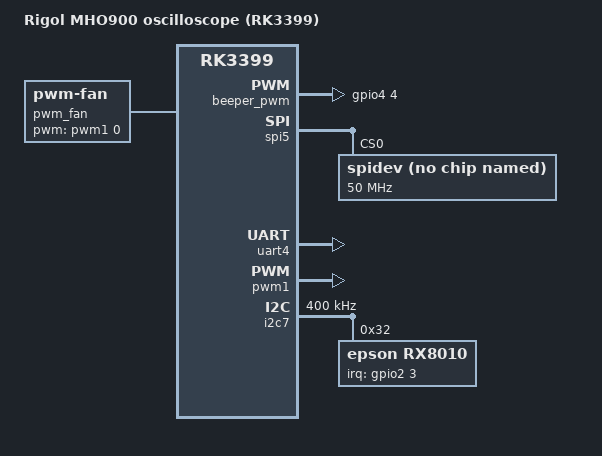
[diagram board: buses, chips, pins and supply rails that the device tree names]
// SPDX-License-Identifier: (GPL-2.0+ OR MIT)
/*
 * Rigol MHO900 oscilloscope board (Rockchip RK3399, board code 3): the DHO800 / DHO900 board with
 * the differences below. Several of the DHO's lines are other signals on this board, so the DHO
 * file's consumers of them are changed or deleted here.
 *
 * Copyright (C) 2026 Olympian LED, Inc.
 */

#include "rk3399-rigol-dho900.dts"

/ {
	model = "Rigol MHO900 oscilloscope (RK3399)";
	compatible = "rigol,mho900", "rockchip,rk3399";

	aliases {
		spi5 = &spi5;

		rtc0 = &rx8010;
		rtc1 = &rk808;
	};

	/* GPIO4_A5 is not a fan line on this board; its fan is the PWM1 pwm-fan below. */
	/delete-node/ gpio-fan;

	/* The fan on PWM1 at 40 us, full duty from probe until userspace sets it. */
	pwm_fan: pwm-fan {
		compatible = "pwm-fan";
		pwms = <&pwm1 0 40000 0>;
		#cooling-cells = <2>;
	};
};

/* No backlight enable line: GPIO1_C2 is the LMK04826's chip select on this board. */
&backlight {
	/delete-property/ enable-gpios;
};

/* The beeper is on GPIO4_A4 (GPIO4_A3 is a DAC gear line). */
&beeper_pwm {
	gpios = <&gpio4 4 GPIO_ACTIVE_HIGH>;
};

/* PCIe PERST# is GPIO1_A3 on this board. */
&pcie0 {
	ep-gpios = <&gpio1 3 GPIO_ACTIVE_HIGH>;
};

/* SPI1 off: its pins are UART4's here. */
&spi1 {
	status = "disabled";
};

/*
 * SPI5: the FPGA's slave-serial configuration port, /dev/spidev5.0. Only CLK (GPIO2_C6) and TXD
 * (GPIO2_C5) are SPI5's; GPIO2_C4 is the FPGA's DONE and GPIO2_C7 its INIT_B (GPIO inputs, pull-up).
 * SCLK_SPI5 at 80 MHz from GPLL, so the bus runs at 40 MHz.
 */
&spi5 {
	pinctrl-names = "default";
	pinctrl-0 = <&spi5_clk &spi5_tx>;
	assigned-clocks = <&cru SCLK_SPI5>;
	assigned-clock-parents = <&cru PLL_GPLL>;
	assigned-clock-rates = <80000000>;
	status = "okay";

	spidev@0 {
		compatible = "rockchip,spidev";
		reg = <0>;
		spi-max-frequency = <50000000>;
	};
};

/* UART4: the generator's microcontroller, 115200 8N1. */
&uart4 {
	status = "okay";
};

&pwm1 {
	status = "okay";
};

/* I2C1 off: its pins (GPIO4_A1 / A2) are DAC gear lines here. */
&i2c1 {
	status = "disabled";
};

/* I2C7: the battery-backed RX8010 RTC at 0x32 (rtc0), interrupt GPIO2_A3. */
&i2c7 {
	clock-frequency = <400000>;
	status = "okay";

	rx8010: rtc@32 {
		compatible = "epson,rx8010";
		reg = <0x32>;
		interrupt-parent = <&gpio2>;
		interrupts = <3 IRQ_TYPE_LEVEL_LOW>;
	};
};

/* The panel's init sequence differs; everything else on the DSI path is the DHO's. */
&dsi {
	panel@0 {
		panel-init-sequence = [
			15 00 02 80 40
			15 00 02 81 cf
			15 00 02 82 87
			15 00 02 83 5d
			15 00 02 84 40
			15 00 02 85 11
			15 00 02 86 82
		];
	};
};

&pinctrl {
	pinctrl-0 = <&pcie_perst_float &afe_spi_pins &fpga_cfg_status>;

	rigol-fpga {
		fpga_cfg_status: fpga-cfg-status {
			rockchip,pins = <2 20 0 &pcfg_pull_up>,
					<2 23 0 &pcfg_pull_up>;
		};
	};
};

/*
 * Line names, as userspace finds the board lines on the GPIO character device:
 *   dac_ch<N>_a/b/c      channel N's DAC gear lines (code bits 0, 1, 2), outputs
 *   afe_rms_channel1..4  the AFE overload comparators, inputs with no pull
 *   hd_code0..3          the straps: board code = hd_code0 << 3 | hd_code1 << 2 | hd_code2 << 1 | hd_code3
 *   spi_sclk/cs/sdio, sysref_reset   the LMK04826 clock bus
 *   ADC_VCC_EN, AFE_VCC_EN, FPGA_VCC_EN, programb, done, initb   the supplies and the FPGA's control
 */
&gpio0 {
	gpio-line-names =
		/* A0-A7 */ "", "ADC_VCC_EN", "AFE_VCC_EN", "", "hd_code0", "power", "", "",
		/* B0-B7 */ "hd_code1", "", "", "hd_code2", "hd_code3", "", "", "",
		/* C0-C7 */ "", "", "", "", "", "", "", "",
		/* D0-D7 */ "", "", "", "", "", "", "", "";
};

&gpio1 {
	gpio-line-names =
		/* A0-A7 */ "FPGA_VCC_EN", "", "", "ep", "", "", "", "",
		/* B0-B7 */ "", "", "", "", "", "programb", "vsel", "",
		/* C0-C7 */ "", "spi_sclk", "spi_cs", "spi_sdio", "reset", "", "sysref_reset", "vsel",
		/* D0-D7 */ "", "", "", "", "", "", "", "";
};

&gpio2 {
	gpio-line-names =
		/* A0-A7 */ "", "", "spi_afe_cs_1", "rtc_int", "spi_afe_cs_3", "spi_afe_cs_2", "", "",
		/* B0-B7 */ "", "spi_afe_miso", "spi_afe_mosi", "spi_afe_sclk", "spi_afe_cs_0", "", "", "",
		/* C0-C7 */ "", "", "", "", "done", "", "", "initb",
		/* D0-D7 */ "", "", "", "", "", "", "", "";
};

&gpio3 {
	gpio-line-names =
		/* A0-A7 */ "", "", "", "", "", "", "", "",
		/* B0-B7 */ "", "", "", "", "", "", "", "mdio-reset",
		/* C0-C7 */ "", "", "", "", "", "", "", "",
		/* D0-D7 */ "LA_PROBE_DETECT", "", "dac_ch4_a", "dac_ch4_b", "dac_ch4_c", "dac_ch3_a", "dac_ch3_b", "dac_ch3_c";
};

&gpio4 {
	gpio-line-names =
		/* A0-A7 */ "", "dac_ch2_a", "dac_ch2_b", "dac_ch2_c", "PWM_GPIO", "", "fts_irq_gpio", "fts_reset_gpio",
		/* B0-B7 */ "", "", "", "", "", "", "", "",
		/* C0-C7 */ "", "", "", "", "", "dac_ch1_a", "", "",
		/* D0-D7 */ "dac_ch1_b", "dac_ch1_c", "afe_rms_channel1", "afe_rms_channel2", "afe_rms_channel3",
			    "afe_rms_channel4", "", "";

	/* GPIO4_A5 is not a fan line here: never driven. */
	/delete-node/ fan-power-hog;
};
